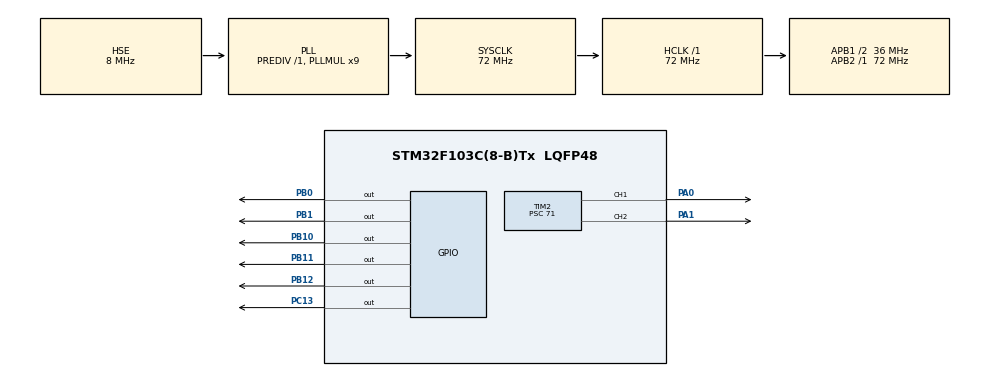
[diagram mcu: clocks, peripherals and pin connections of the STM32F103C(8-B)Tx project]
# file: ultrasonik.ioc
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Mcu.Family=STM32F1
Mcu.Name=STM32F103C(8-B)Tx
Mcu.Package=LQFP48
NVIC.PriorityGroup=NVIC_PRIORITYGROUP_4
NVIC.TIM1_CC_IRQn=true\:0\:0\:false\:false\:true\:true\:true\:true
PA0-WKUP.Signal=S_TIM2_CH1_ETR
PA1.Signal=S_TIM2_CH2
PA13.Mode=Serial_Wire
PA13.Signal=SYS_JTMS-SWDIO
PA14.Mode=Serial_Wire
PA14.Signal=SYS_JTCK-SWCLK
PB0.Signal=GPIO_Output
PB1.Signal=GPIO_Output
PB10.Signal=GPIO_Output
PB11.Signal=GPIO_Output
PB12.Signal=GPIO_Output
PC13-TAMPER-RTC.Signal=GPIO_Output
PD0-OSC_IN.Mode=HSE-External-Oscillator
PD0-OSC_IN.Signal=RCC_OSC_IN
PD1-OSC_OUT.Mode=HSE-External-Oscillator
PD1-OSC_OUT.Signal=RCC_OSC_OUT
ProjectManager.HeapSize=0x200
ProjectManager.StackSize=0x400
ProjectManager.TargetToolchain=STM32CubeIDE
RCC.AHBFreq_Value=72000000
RCC.APB1CLKDivider=RCC_HCLK_DIV2
RCC.APB1Freq_Value=36000000
RCC.APB1TimFreq_Value=72000000
RCC.APB2Freq_Value=72000000
RCC.APB2TimFreq_Value=72000000
RCC.HCLKFreq_Value=72000000
RCC.PLLMUL=RCC_PLL_MUL9
RCC.PLLSourceVirtual=RCC_PLLSOURCE_HSE
RCC.SYSCLKFreq_VALUE=72000000
RCC.SYSCLKSource=RCC_SYSCLKSOURCE_PLLCLK
RCC.USBFreq_Value=72000000
SH.S_TIM2_CH1_ETR.0=TIM2_CH1,PWM Generation1 CH1
SH.S_TIM2_CH2.0=TIM2_CH2,PWM Generation2 CH2
TIM1.ClockDivision=TIM_CLOCKDIVISION_DIV1
TIM1.Prescaler=71
TIM2.Channel-PWM\ Generation1\ CH1=TIM_CHANNEL_1
TIM2.Channel-PWM\ Generation2\ CH2=TIM_CHANNEL_2
TIM2.Period=999
TIM2.Prescaler=71
VP_TIM1_VS_ClockSourceINT.Mode=Internal
board=custom

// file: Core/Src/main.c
/* USER CODE BEGIN Header */
/**
  ******************************************************************************
  * @file           : main.c
  * @brief          : Main program body
  ******************************************************************************
  * @attention
  *
  * Copyright (c) 2026 STMicroelectronics.
  * All rights reserved.
  *
  * This software is licensed under terms that can be found in the LICENSE file
  * in the root directory of this software component.
  * If no LICENSE file comes with this software, it is provided AS-IS.
  *
  ******************************************************************************
  */
/* USER CODE END Header */
#include "main.h"

/* USER CODE BEGIN Includes */
#include "motor.h"
/* USER CODE END Includes */

TIM_HandleTypeDef htim1;
TIM_HandleTypeDef htim2;

/* USER CODE BEGIN PV */
uint32_t ic_val1 = 0;
uint32_t ic_val2 = 0;
uint8_t  is_first_capture = 0;
uint16_t distance = 0;
#define TRIG_PIN GPIO_PIN_3
#define TRIG_PORT GPIOA
#define ECHO_PIN GPIO_PIN_8
#define ECHO_PORT GPIOA
#define IND_PIN GPIO_PIN_13
#define IND_PORT GPIOC
/*
uint32_t pMillis;
uint32_t val1 = 0;
uint32_t val2 = 0;
uint16_t distance  = 0;
char string[15];*/
/* USER CODE END PV */

void SystemClock_Config(void);
static void MX_GPIO_Init(void);
static void MX_TIM1_Init(void);
static void MX_TIM2_Init(void);

int main(void)
{

  /* MCU Configuration--------------------------------------------------------*/

  /* Reset of all peripherals, Initializes the Flash interface and the Systick. */
  HAL_Init();

  /* Configure the system clock */
  SystemClock_Config();

  /* Initialize all configured peripherals */
  MX_GPIO_Init();
  MX_TIM1_Init();
  MX_TIM2_Init();
  /* USER CODE BEGIN 2 */
  //TEST COMMIT
	// Объявляем моторы
	Motor_t motorA = {
			.in1_port = GPIOB,
			.in1_pin = GPIO_PIN_0,
			.in2_port =	GPIOB,
			.in2_pin = GPIO_PIN_1,
			.htim = &htim2,
			.pwm_channel = TIM_CHANNEL_1,
			.max_duty = 1000
	};

	Motor_t motorB = {
			.in1_port = GPIOB,
			.in1_pin = GPIO_PIN_10,
			.in2_port =	GPIOB,
			.in2_pin = GPIO_PIN_11,
			.htim = &htim2,
			.pwm_channel = TIM_CHANNEL_2,
			.max_duty = 1000
	};

	// STBY
	HAL_GPIO_WritePin(GPIOB, GPIO_PIN_12, GPIO_PIN_SET);

	Motor_Init(&motorA);
	Motor_Init(&motorB);

  /* USER CODE END 2 */

  /* Infinite loop */
  while (1)
  {

    /* USER CODE BEGIN 3 */
	    // Вперёд напрямую без PWM

		/*fdcmn HAL_GPIO_TogglePin(GPIOC, GPIO_PIN_13);
		HAL_Delay(500);*/
	    // Вперёд 75%
	    Motor_Set(&motorA, MOTOR_FORWARD,  75);
	    Motor_Set(&motorB, MOTOR_FORWARD,  75);
	    HAL_Delay(2000);

	    // Стоп
	    Motor_Stop(&motorA);
	    Motor_Stop(&motorB);
	    HAL_Delay(1000);

	    // Назад 75%
	    Motor_Set(&motorA, MOTOR_BACKWARD, 75);
	    Motor_Set(&motorB, MOTOR_BACKWARD, 75);
	    HAL_Delay(2000);

	    // Стоп
	    Motor_Stop(&motorA);
	    Motor_Stop(&motorB);
	    HAL_Delay(1000);
  }
  /* USER CODE END 3 */
}

void SystemClock_Config(void)
{
  RCC_OscInitTypeDef RCC_OscInitStruct = {0};
  RCC_ClkInitTypeDef RCC_ClkInitStruct = {0};

  /** Initializes the RCC Oscillators according to the specified parameters
  * in the RCC_OscInitTypeDef structure.
  */
  RCC_OscInitStruct.OscillatorType = RCC_OSCILLATORTYPE_HSE;
  RCC_OscInitStruct.HSEState = RCC_HSE_ON;
  RCC_OscInitStruct.HSEPredivValue = RCC_HSE_PREDIV_DIV1;
  RCC_OscInitStruct.HSIState = RCC_HSI_ON;
  RCC_OscInitStruct.PLL.PLLState = RCC_PLL_ON;
  RCC_OscInitStruct.PLL.PLLSource = RCC_PLLSOURCE_HSE;
  RCC_OscInitStruct.PLL.PLLMUL = RCC_PLL_MUL9;
  if (HAL_RCC_OscConfig(&RCC_OscInitStruct) != HAL_OK)
  {
    Error_Handler();
  }

  /** Initializes the CPU, AHB and APB buses clocks
  */
  RCC_ClkInitStruct.ClockType = RCC_CLOCKTYPE_HCLK|RCC_CLOCKTYPE_SYSCLK
                              |RCC_CLOCKTYPE_PCLK1|RCC_CLOCKTYPE_PCLK2;
  RCC_ClkInitStruct.SYSCLKSource = RCC_SYSCLKSOURCE_PLLCLK;
  RCC_ClkInitStruct.AHBCLKDivider = RCC_SYSCLK_DIV1;
  RCC_ClkInitStruct.APB1CLKDivider = RCC_HCLK_DIV2;
  RCC_ClkInitStruct.APB2CLKDivider = RCC_HCLK_DIV1;

  if (HAL_RCC_ClockConfig(&RCC_ClkInitStruct, FLASH_LATENCY_2) != HAL_OK)
  {
    Error_Handler();
  }
}

static void MX_TIM1_Init(void)
{

  TIM_ClockConfigTypeDef sClockSourceConfig = {0};
  TIM_MasterConfigTypeDef sMasterConfig = {0};

  htim1.Instance = TIM1;
  htim1.Init.Prescaler = 71;
  htim1.Init.CounterMode = TIM_COUNTERMODE_UP;
  htim1.Init.Period = 65535;
  htim1.Init.ClockDivision = TIM_CLOCKDIVISION_DIV1;
  htim1.Init.RepetitionCounter = 0;
  htim1.Init.AutoReloadPreload = TIM_AUTORELOAD_PRELOAD_DISABLE;
  if (HAL_TIM_Base_Init(&htim1) != HAL_OK)
  {
    Error_Handler();
  }
  sClockSourceConfig.ClockSource = TIM_CLOCKSOURCE_INTERNAL;
  if (HAL_TIM_ConfigClockSource(&htim1, &sClockSourceConfig) != HAL_OK)
  {
    Error_Handler();
  }
  sMasterConfig.MasterOutputTrigger = TIM_TRGO_RESET;
  sMasterConfig.MasterSlaveMode = TIM_MASTERSLAVEMODE_DISABLE;
  if (HAL_TIMEx_MasterConfigSynchronization(&htim1, &sMasterConfig) != HAL_OK)
  {
    Error_Handler();
  }

}

static void MX_TIM2_Init(void)
{

  TIM_MasterConfigTypeDef sMasterConfig = {0};
  TIM_OC_InitTypeDef sConfigOC = {0};

  htim2.Instance = TIM2;
  htim2.Init.Prescaler = 71;
  htim2.Init.CounterMode = TIM_COUNTERMODE_UP;
  htim2.Init.Period = 999;
  htim2.Init.ClockDivision = TIM_CLOCKDIVISION_DIV1;
  htim2.Init.AutoReloadPreload = TIM_AUTORELOAD_PRELOAD_DISABLE;
  if (HAL_TIM_PWM_Init(&htim2) != HAL_OK)
  {
    Error_Handler();
  }
  sMasterConfig.MasterOutputTrigger = TIM_TRGO_RESET;
  sMasterConfig.MasterSlaveMode = TIM_MASTERSLAVEMODE_DISABLE;
  if (HAL_TIMEx_MasterConfigSynchronization(&htim2, &sMasterConfig) != HAL_OK)
  {
    Error_Handler();
  }
  sConfigOC.OCMode = TIM_OCMODE_PWM1;
  sConfigOC.Pulse = 0;
  sConfigOC.OCPolarity = TIM_OCPOLARITY_HIGH;
  sConfigOC.OCFastMode = TIM_OCFAST_DISABLE;
  if (HAL_TIM_PWM_ConfigChannel(&htim2, &sConfigOC, TIM_CHANNEL_1) != HAL_OK)
  {
    Error_Handler();
  }
  if (HAL_TIM_PWM_ConfigChannel(&htim2, &sConfigOC, TIM_CHANNEL_2) != HAL_OK)
  {
    Error_Handler();
  }
  HAL_TIM_MspPostInit(&htim2);

}

static void MX_GPIO_Init(void)
{
  GPIO_InitTypeDef GPIO_InitStruct = {0};

  /* GPIO Ports Clock Enable */
  __HAL_RCC_GPIOC_CLK_ENABLE();
  __HAL_RCC_GPIOD_CLK_ENABLE();
  __HAL_RCC_GPIOA_CLK_ENABLE();
  __HAL_RCC_GPIOB_CLK_ENABLE();

  /*Configure GPIO pin Output Level */
  HAL_GPIO_WritePin(GPIOC, GPIO_PIN_13, GPIO_PIN_RESET);

  /*Configure GPIO pin Output Level */
  HAL_GPIO_WritePin(GPIOB, GPIO_PIN_0|GPIO_PIN_1|GPIO_PIN_10|GPIO_PIN_11
                          |GPIO_PIN_12, GPIO_PIN_RESET);

  /*Configure GPIO pin : PC13 */
  GPIO_InitStruct.Pin = GPIO_PIN_13;
  GPIO_InitStruct.Mode = GPIO_MODE_OUTPUT_PP;
  GPIO_InitStruct.Pull = GPIO_NOPULL;
  GPIO_InitStruct.Speed = GPIO_SPEED_FREQ_LOW;
  HAL_GPIO_Init(GPIOC, &GPIO_InitStruct);

  /*Configure GPIO pins : PB0 PB1 PB10 PB11
                           PB12 */
  GPIO_InitStruct.Pin = GPIO_PIN_0|GPIO_PIN_1|GPIO_PIN_10|GPIO_PIN_11
                          |GPIO_PIN_12;
  GPIO_InitStruct.Mode = GPIO_MODE_OUTPUT_PP;
  GPIO_InitStruct.Pull = GPIO_NOPULL;
  GPIO_InitStruct.Speed = GPIO_SPEED_FREQ_LOW;
  HAL_GPIO_Init(GPIOB, &GPIO_InitStruct);

  /* USER CODE BEGIN MX_GPIO_Init_2 */
  /* Configure GPIO pin : PA8 */
  GPIO_InitStruct.Pin = GPIO_PIN_8;
  GPIO_InitStruct.Mode = GPIO_MODE_AF_INPUT;
  GPIO_InitStruct.Pull = GPIO_NOPULL;
  HAL_GPIO_Init(GPIOA, &GPIO_InitStruct);
  /* USER CODE END MX_GPIO_Init_2 */
}

/* USER CODE BEGIN 4 */
void HAL_TIM_IC_CaptureCallback(TIM_HandleTypeDef *htim)
{
    if (htim->Channel == HAL_TIM_ACTIVE_CHANNEL_1)
    {
        if (is_first_capture == 0)
        {
            ic_val1 = HAL_TIM_ReadCapturedValue(htim, TIM_CHANNEL_1);
            is_first_capture = 1;

            __HAL_TIM_SET_CAPTUREPOLARITY(htim, TIM_CHANNEL_1, TIM_INPUTCHANNELPOLARITY_FALLING);
        }
        else
        {
            ic_val2 = HAL_TIM_ReadCapturedValue(htim, TIM_CHANNEL_1);

            __HAL_TIM_SET_COUNTER(htim, 0);

            if (ic_val2 > ic_val1)
                distance = (ic_val2 - ic_val1) * 0.034 / 2;
            else
                distance = ((65535 - ic_val1) + ic_val2) * 0.034 / 2;

            is_first_capture = 0;

            __HAL_TIM_SET_CAPTUREPOLARITY(htim, TIM_CHANNEL_1, TIM_INPUTCHANNELPOLARITY_RISING);
        }
    }
}

void HCSR04_Trigger(void)
{
    HAL_GPIO_WritePin(TRIG_PORT, TRIG_PIN, GPIO_PIN_SET);
    __HAL_TIM_SET_COUNTER(&htim1, 0);
    while (__HAL_TIM_GET_COUNTER(&htim1) < 10);
    HAL_GPIO_WritePin(TRIG_PORT, TRIG_PIN, GPIO_PIN_RESET);
}
/* USER CODE END 4 */

void Error_Handler(void)
{
  __disable_irq();
  while (1)
  {
  }
}
